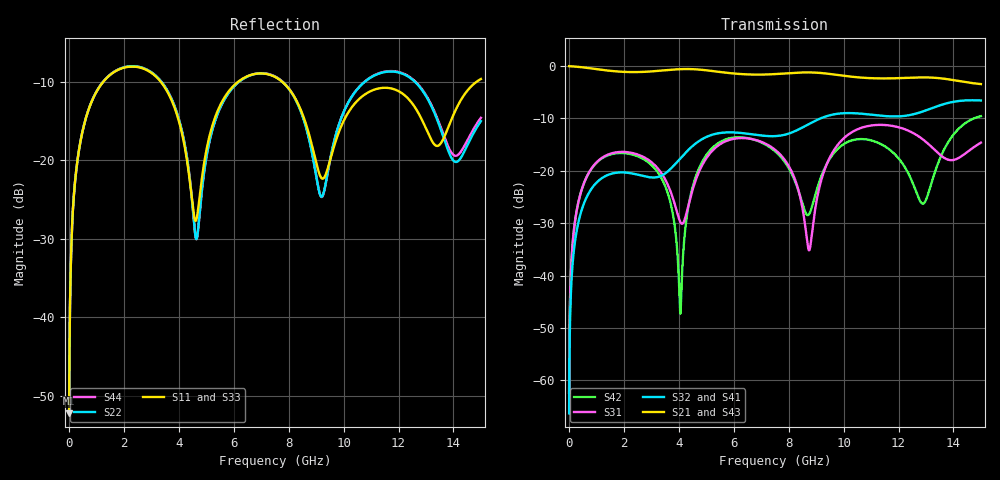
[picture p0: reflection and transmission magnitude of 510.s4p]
! Created with skrf 1.8.0 (http://scikit-rf.org).
# GHz S RI R 50.0
!freq ReS11 ImS11 ReS12 ImS12 ReS13 ImS13
! ReS14 ImS14
! ReS21 ImS21 ReS22 ImS22 ReS23 ImS23
! ReS24 ImS24
! ReS31 ImS31 ReS32 ImS32 ReS33 ImS33
! ReS34 ImS34
! ReS41 ImS41 ReS42 ImS42 ReS43 ImS43
! ReS44 ImS44
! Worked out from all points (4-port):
!   2499 points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, 5 MHz to 15 GHz, reference 50 ohm
!   strongest paths, dB at 5 MHz, 3.476 GHz, 7.19 GHz, 11.1 GHz, 15 GHz:
!     S21: 0.0, -0.8, -1.6, -2.3, -3.4
!     S43: 0.0, -0.8, -1.6, -2.3, -3.4
!     S32: -66.3, -20.6, -13.3, -9.3, -6.6
!     S41: -66.3, -20.6, -13.4, -9.4, -6.7
!     S31: -62.4, -21.4, -14.9, -11.3, -14.6
!     S42: -62.4, -22.6, -15.1, -14.3, -9.6
!   lowest |S11| = -52.3 dB at 5 MHz (marker M1), VSWR 1.00, Z = 50.2 + j0.148 ohm
!   |S11| at or under -10 dB: start of sweep to 1.252 GHz; 3.338 GHz to 6.167 GHz (2.829 GHz wide, 59.5 % of centre); 7.759 GHz to 14.85 GHz (7.091 GHz wide, 62.7 % of centre)
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0.005  0.00194 0.00148  0.998 -0.00377  9.8e-05 0.000754  -9.51e-05 -0.000476
       0.998 -0.00377  0.00194 0.00148  -9.51e-05 -0.000476  9.78e-05 0.000755
       9.8e-05 0.000754  -9.51e-05 -0.000476  0.00194 0.00148  0.998 -0.00377
       -9.51e-05 -0.000476  9.78e-05 0.000755  0.998 -0.00377  0.00194 0.00148
0.3626511  0.0402 0.1082  0.9442 -0.2675  0.0196 0.0493  -0.0158 -0.0301
           0.9442 -0.2675  0.0403 0.1082  -0.0159 -0.0301  0.0187 0.0496
           0.0196 0.0493  -0.0159 -0.0301  0.0402 0.1082  0.9442 -0.2675
           -0.0158 -0.0301  0.0187 0.0496  0.9442 -0.2675  0.0403 0.1082
1.67  0.3417 0.1324  0.3639 -0.8147  0.1476 0.0237  -0.0925 0.0231
      0.3639 -0.8147  0.3441 0.1298  -0.0926 0.0233  0.1416 0.0372
      0.1476 0.0237  -0.0926 0.0233  0.3417 0.1325  0.3638 -0.8147
      -0.0925 0.0231  0.1416 0.0372  0.3638 -0.8147  0.3443 0.1297
4.051688  0.0933 -0.1354  -0.8309 -0.4273  -0.0273 -0.0178  -0.0565 0.1184
          -0.8309 -0.4273  0.0867 -0.1447  -0.0554 0.119  0.0043 0.000781
          -0.0273 -0.0178  -0.0554 0.119  0.0941 -0.1361  -0.8307 -0.4273
          -0.0565 0.1184  0.0043 0.000781  -0.8307 -0.4273  0.0869 -0.1457
5.295957  0.1266 0.1304  -0.818 0.3561  0.099 0.1294  0.1196 0.1893
          -0.818 0.3561  0.1153 0.1291  0.1214 0.1885  0.1194 0.1247
          0.099 0.1294  0.1214 0.1885  0.1263 0.1292  -0.8181 0.3563
          0.1196 0.1893  0.1194 0.1247  -0.8181 0.3563  0.115 0.1286
9.297624  0.0775 0.00498  0.8466 0.1042  0.0306 0.0958  0.031 -0.3254
          0.8466 0.1042  0.0613 0.0196  0.0252 -0.3259  -0.0152 0.103
          0.0306 0.0958  0.0252 -0.3259  0.0779 0.0025  0.8467 0.1027
          0.031 -0.3254  -0.0152 0.103  0.8467 0.1027  0.061 0.0185
15  0.3178 0.0834  -0.6105 0.2846  0.1361 0.1264  0.2639 0.3822
    -0.6105 0.2846  0.1701 0.0494  0.2764 0.3795  0.3021 0.1399
    0.1361 0.1264  0.2764 0.3795  0.3062 0.0786  -0.6091 0.291
    0.2639 0.3822  0.3021 0.1399  -0.6091 0.291  0.1813 0.0416
